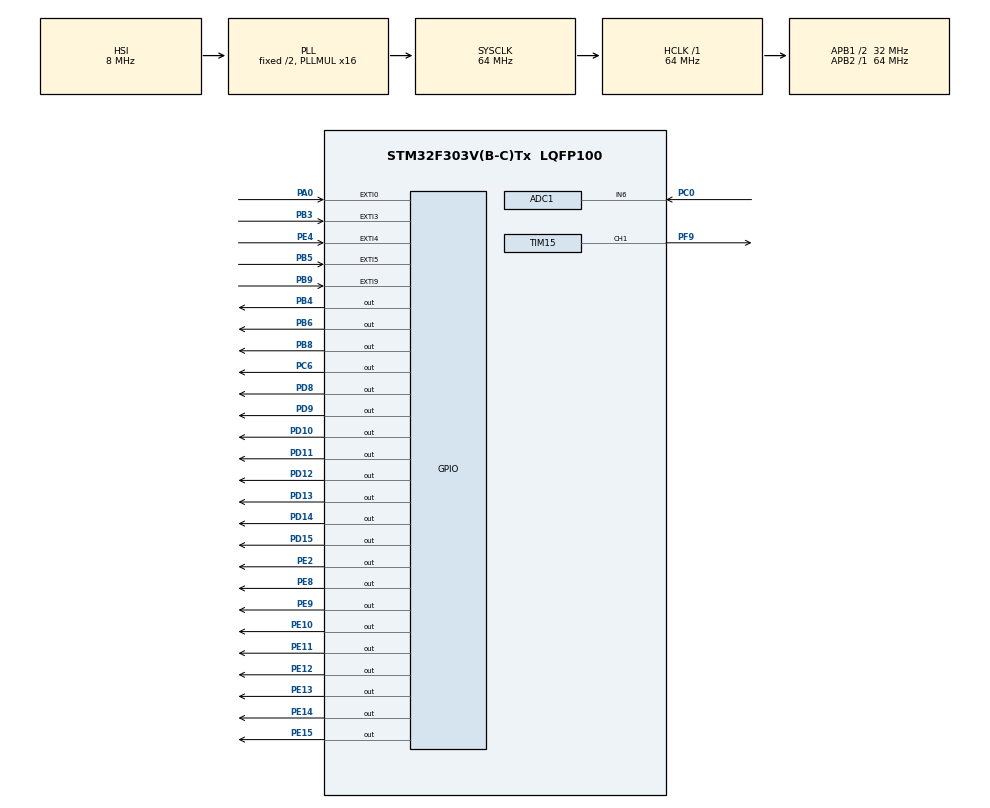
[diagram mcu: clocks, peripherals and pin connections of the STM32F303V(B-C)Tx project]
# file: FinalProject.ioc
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ADC1.Channel-0\#ChannelRegularConversion=ADC_CHANNEL_6
ADC1.NbrOfConversionFlag=1
ADC1.Offset-0\#ChannelRegularConversion=0
ADC1.OffsetNumber-0\#ChannelRegularConversion=ADC_OFFSET_NONE
ADC1.Rank-0\#ChannelRegularConversion=1
ADC1.SamplingTime-0\#ChannelRegularConversion=ADC_SAMPLETIME_601CYCLES_5
ADC1.SamplingTimeOPAMP-0\#ChannelRegularConversion=ADC_SAMPLETIME_61CYCLES_5
ADC1.master=1
Mcu.Family=STM32F3
Mcu.Name=STM32F303V(B-C)Tx
Mcu.Package=LQFP100
NVIC.ADC1_2_IRQn=true\:2\:0\:true\:false\:true\:true\:true
NVIC.EXTI0_IRQn=true\:2\:0\:true\:false\:true\:true\:true
NVIC.EXTI3_IRQn=true\:2\:0\:true\:false\:true\:true\:true
NVIC.EXTI4_IRQn=true\:2\:0\:true\:false\:true\:true\:true
NVIC.EXTI9_5_IRQn=true\:2\:0\:true\:false\:true\:true\:true
NVIC.PriorityGroup=NVIC_PRIORITYGROUP_4
NVIC.TIM2_IRQn=true\:2\:0\:true\:false\:true\:true\:true
NVIC.TIM3_IRQn=true\:1\:0\:true\:false\:true\:true\:true
NVIC.TIM4_IRQn=true\:2\:0\:true\:false\:true\:true\:true
PA0.GPIO_ModeDefaultEXTI=GPIO_MODE_IT_FALLING
PA0.GPIO_PuPd=GPIO_PULLDOWN
PA0.Signal=GPXTI0
PB3.GPIO_PuPd=GPIO_PULLDOWN
PB3.Signal=GPXTI3
PB4.PinState=GPIO_PIN_SET
PB4.Signal=GPIO_Output
PB5.GPIO_PuPd=GPIO_PULLDOWN
PB5.Signal=GPXTI5
PB6.PinState=GPIO_PIN_SET
PB6.Signal=GPIO_Output
PB8.PinState=GPIO_PIN_SET
PB8.Signal=GPIO_Output
PB9.GPIO_PuPd=GPIO_PULLDOWN
PB9.Signal=GPXTI9
PC0.Signal=ADCx_IN6
PC6.GPIO_PuPd=GPIO_PULLDOWN
PC6.Signal=GPIO_Output
PD10.GPIO_PuPd=GPIO_PULLDOWN
PD10.Signal=GPIO_Output
PD11.GPIO_PuPd=GPIO_PULLDOWN
PD11.Signal=GPIO_Output
PD12.GPIO_PuPd=GPIO_PULLDOWN
PD12.Signal=GPIO_Output
PD13.GPIO_PuPd=GPIO_PULLDOWN
PD13.Signal=GPIO_Output
PD14.GPIO_PuPd=GPIO_PULLDOWN
PD14.Signal=GPIO_Output
PD15.GPIO_PuPd=GPIO_PULLDOWN
PD15.Signal=GPIO_Output
PD8.GPIO_PuPd=GPIO_PULLDOWN
PD8.Signal=GPIO_Output
PD9.GPIO_PuPd=GPIO_PULLDOWN
PD9.Signal=GPIO_Output
PE10.GPIO_PuPd=GPIO_PULLDOWN
PE10.Signal=GPIO_Output
PE11.GPIO_PuPd=GPIO_PULLDOWN
PE11.Signal=GPIO_Output
PE12.GPIO_PuPd=GPIO_PULLDOWN
PE12.Signal=GPIO_Output
PE13.GPIO_PuPd=GPIO_PULLDOWN
PE13.Signal=GPIO_Output
PE14.GPIO_PuPd=GPIO_PULLDOWN
PE14.Signal=GPIO_Output
PE15.GPIO_PuPd=GPIO_PULLDOWN
PE15.Signal=GPIO_Output
PE2.PinState=GPIO_PIN_SET
PE2.Signal=GPIO_Output
PE4.GPIO_ModeDefaultEXTI=GPIO_MODE_IT_RISING
PE4.GPIO_PuPd=GPIO_PULLDOWN
PE4.Signal=GPXTI4
PE8.GPIO_PuPd=GPIO_PULLDOWN
PE8.Signal=GPIO_Output
PE9.GPIO_PuPd=GPIO_PULLDOWN
PE9.Signal=GPIO_Output
PF9.Signal=S_TIM15_CH1
ProjectManager.HeapSize=0x200
ProjectManager.StackSize=0x400
ProjectManager.TargetToolchain=STM32CubeIDE
RCC.AHBFreq_Value=64000000
RCC.APB1CLKDivider=RCC_HCLK_DIV2
RCC.APB1Freq_Value=32000000
RCC.APB1TimFreq_Value=64000000
RCC.APB2Freq_Value=64000000
RCC.APB2TimFreq_Value=64000000
RCC.CortexFreq_Value=64000000
RCC.HCLKFreq_Value=64000000
RCC.HSE_VALUE=8000000
RCC.HSI_VALUE=8000000
RCC.LSE_VALUE=32768
RCC.PLLMUL=RCC_PLL_MUL16
RCC.SYSCLKFreq_VALUE=64000000
RCC.SYSCLKSourceVirtual=RCC_SYSCLKSOURCE_PLLCLK
RCC.USBFreq_Value=64000000
RTC.AsynchPrediv=39
RTC.SynchPrediv=999
SH.ADCx_IN6.0=ADC1_IN6,IN6-Single-Ended
SH.S_TIM15_CH1.0=TIM15_CH1,PWM Generation1 CH1
TIM15.Channel-PWM\ Generation1\ CH1=TIM_CHANNEL_1
TIM2.Period=10000
TIM2.Prescaler=400
TIM3.Period=999
TIM3.Prescaler=255
TIM4.Period=9999
TIM4.Prescaler=3199
VP_RTC_VS_RTC_Activate.Mode=RTC_Enabled
VP_RTC_VS_RTC_Calendar.Mode=RTC_Calendar
VP_TIM15_VS_ClockSourceINT.Mode=Internal
VP_TIM2_VS_ClockSourceINT.Mode=Internal
VP_TIM3_VS_ClockSourceINT.Mode=Internal
VP_TIM4_VS_ClockSourceINT.Mode=Internal
board=custom

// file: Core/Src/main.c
/* USER CODE BEGIN Header */
/**
 ******************************************************************************
 * @file           : main.c
 * @brief          : Main program body
 ******************************************************************************
 * @attention
 *
 * <h2><center>&copy; Copyright (c) 2022 STMicroelectronics.
 * All rights reserved.</center></h2>
 *
 * This software component is licensed by ST under BSD 3-Clause license,
 * the "License"; You may not use this file except in compliance with the
 * License. You may obtain a copy of the License at:
 *                        opensource.org/licenses/BSD-3-Clause
 *
 ******************************************************************************
 */
/* USER CODE END Header */
#include "main.h"

/* USER CODE BEGIN Includes */
#include "LiquidCrystal.h"
#include "LCD_Util.h"
/* USER CODE END Includes */

/* USER CODE BEGIN PTD */
GPIO_TypeDef *const Row_ports[] = { GPIOB, GPIOB, GPIOE, GPIOB };
const uint16_t Row_pins[] = { GPIO_PIN_3, GPIO_PIN_5, GPIO_PIN_4, GPIO_PIN_9 };
GPIO_TypeDef *const Column_ports[] = { GPIOB, GPIOB, GPIOB, GPIOE };
const uint16_t Column_pins[] =
		{ GPIO_PIN_4, GPIO_PIN_6, GPIO_PIN_8, GPIO_PIN_2 };
volatile uint32_t last_gpio_exti;

TIM_HandleTypeDef *pwm_timer = &htim2;
uint32_t pwm_channel = TIM_CHANNEL_2;
/* USER CODE END PTD */

ADC_HandleTypeDef hadc1;

RTC_HandleTypeDef hrtc;

TIM_HandleTypeDef htim2;
TIM_HandleTypeDef htim3;
TIM_HandleTypeDef htim4;
TIM_HandleTypeDef htim15;

/* USER CODE BEGIN PV */
extern int input_button;
extern int program_state;
extern int shooting;
extern int player_row;
extern int player_col;
extern int bullet_row;
extern int bullet_col;
/* USER CODE END PV */

void SystemClock_Config(void);
static void MX_TIM4_Init(void);
static void MX_GPIO_Init(void);
static void MX_TIM3_Init(void);
static void MX_ADC1_Init(void);
static void MX_TIM2_Init(void);
static void MX_RTC_Init(void);
static void MX_TIM15_Init(void);

/* USER CODE BEGIN 0 */
void PWM_Start() {
    HAL_TIM_PWM_Start(pwm_timer, pwm_channel);
}

void PWM_Change_Tone(uint16_t pwm_freq, uint16_t volume) {
    if (pwm_freq == 0 || pwm_freq > 20000) {
        __HAL_TIM_SET_COMPARE(pwm_timer, pwm_channel, 0);
    } else {
        const uint32_t internal_clock_freq = HAL_RCC_GetSysClockFreq();
        // const uint16_t prescaler = 1;
        const uint16_t prescaler = 1 + internal_clock_freq / pwm_freq / 60000;
        const uint32_t timer_clock = internal_clock_freq / prescaler;
        const uint32_t period_cycles = timer_clock / pwm_freq;
        const uint32_t pulse_width = volume * period_cycles / 1000 / 2;

        pwm_timer->Instance->PSC = prescaler - 1;
        pwm_timer->Instance->ARR = period_cycles - 1;
        pwm_timer->Instance->EGR = TIM_EGR_UG;
        __HAL_TIM_SET_COMPARE(pwm_timer, pwm_channel, pulse_width); // pwm_timer->Instance->CCR2 = pulse_width;
    }
}

void HAL_GPIO_EXTI_Callback(uint16_t GPIO_Pin) {
	if (last_gpio_exti + 200 > HAL_GetTick()) {
		return;
	}
	last_gpio_exti = HAL_GetTick();

	int8_t row_number = -1;
	int8_t column_number = -1;

	if (GPIO_Pin == GPIO_PIN_0) {
		return;
	}

	for (uint8_t row = 0; row < 4; row++) {
		if (GPIO_Pin == Row_pins[row]) {
			row_number = row;
		}
	}

	HAL_GPIO_WritePin(Column_ports[0], Column_pins[0], 0);
	HAL_GPIO_WritePin(Column_ports[1], Column_pins[1], 0);
	HAL_GPIO_WritePin(Column_ports[2], Column_pins[2], 0);
	HAL_GPIO_WritePin(Column_ports[3], Column_pins[3], 0);

	for (uint8_t col = 0; col < 4; col++) {
		HAL_GPIO_WritePin(Column_ports[col], Column_pins[col], 1);
		if (HAL_GPIO_ReadPin(Row_ports[row_number], Row_pins[row_number])) {
			column_number = col;
		}
		HAL_GPIO_WritePin(Column_ports[col], Column_pins[col], 0);
	}

	HAL_GPIO_WritePin(Column_ports[0], Column_pins[0], 1);
	HAL_GPIO_WritePin(Column_ports[1], Column_pins[1], 1);
	HAL_GPIO_WritePin(Column_ports[2], Column_pins[2], 1);
	HAL_GPIO_WritePin(Column_ports[3], Column_pins[3], 1);

	if (row_number == -1 || column_number == -1) {
		return;
	}

	const uint8_t button_number = row_number * 4 + column_number + 1;

	input_button = button_number;

	if (program_state == menu_page) {
		if (input_button == 1) {
			program_state = game_page;
			set_game_page();
		} else if (input_button == 2) {
			program_state = change_name_page;
			set_change_name_page();
		} else if (input_button == 3) {
			program_state = help_page;
			set_help_page();
		} else if (input_button == 5) {
			program_state = about_page;
			set_about_page();
		}
	}

	if (program_state == game_page) {
		if (input_button == 5) {
			player_left();
		} else if (input_button == 7) {
			player_right();
		} else if (input_button == 6) {
			shooting = 1;
			bullet_row = player_row;
			bullet_col = player_col + 1;
		}
	}
}
/* USER CODE END 0 */

int main(void)
{

  /* MCU Configuration--------------------------------------------------------*/

  /* Reset of all peripherals, Initializes the Flash interface and the Systick. */
  HAL_Init();

  /* Configure the system clock */
  SystemClock_Config();

  /* Initialize all configured peripherals */
  MX_TIM4_Init();
  MX_GPIO_Init();
  MX_TIM3_Init();
  MX_ADC1_Init();
  MX_TIM2_Init();
  MX_RTC_Init();
  MX_TIM15_Init();
  /* USER CODE BEGIN 2 */
	LiquidCrystal(GPIOD, GPIO_PIN_1, GPIO_PIN_2, GPIO_PIN_3, GPIO_PIN_4,
	GPIO_PIN_5, GPIO_PIN_6, GPIO_PIN_7);
	begin(20, 4);

	HAL_TIM_Base_Start_IT(&htim2);
	HAL_TIM_Base_Start_IT(&htim3);
	HAL_TIM_Base_Start_IT(&htim4);
	HAL_ADC_Start_IT(&hadc1);

	HAL_TIM_PWM_Start(&htim2, TIM_CHANNEL_3);
	PWM_Start();
  /* USER CODE END 2 */

  /* Infinite loop */
  /* USER CODE BEGIN WHILE */
	set_start_page();
	while (1) {
    /* USER CODE END WHILE */

	}
}

void SystemClock_Config(void)
{
  RCC_OscInitTypeDef RCC_OscInitStruct = {0};
  RCC_ClkInitTypeDef RCC_ClkInitStruct = {0};
  RCC_PeriphCLKInitTypeDef PeriphClkInit = {0};

  /** Initializes the RCC Oscillators according to the specified parameters
  * in the RCC_OscInitTypeDef structure.
  */
  RCC_OscInitStruct.OscillatorType = RCC_OSCILLATORTYPE_HSI|RCC_OSCILLATORTYPE_LSI;
  RCC_OscInitStruct.HSIState = RCC_HSI_ON;
  RCC_OscInitStruct.HSICalibrationValue = RCC_HSICALIBRATION_DEFAULT;
  RCC_OscInitStruct.LSIState = RCC_LSI_ON;
  RCC_OscInitStruct.PLL.PLLState = RCC_PLL_ON;
  RCC_OscInitStruct.PLL.PLLSource = RCC_PLLSOURCE_HSI;
  RCC_OscInitStruct.PLL.PLLMUL = RCC_PLL_MUL16;
  if (HAL_RCC_OscConfig(&RCC_OscInitStruct) != HAL_OK)
  {
    Error_Handler();
  }
  /** Initializes the CPU, AHB and APB buses clocks
  */
  RCC_ClkInitStruct.ClockType = RCC_CLOCKTYPE_HCLK|RCC_CLOCKTYPE_SYSCLK
                              |RCC_CLOCKTYPE_PCLK1|RCC_CLOCKTYPE_PCLK2;
  RCC_ClkInitStruct.SYSCLKSource = RCC_SYSCLKSOURCE_PLLCLK;
  RCC_ClkInitStruct.AHBCLKDivider = RCC_SYSCLK_DIV1;
  RCC_ClkInitStruct.APB1CLKDivider = RCC_HCLK_DIV2;
  RCC_ClkInitStruct.APB2CLKDivider = RCC_HCLK_DIV1;

  if (HAL_RCC_ClockConfig(&RCC_ClkInitStruct, FLASH_LATENCY_2) != HAL_OK)
  {
    Error_Handler();
  }
  PeriphClkInit.PeriphClockSelection = RCC_PERIPHCLK_RTC|RCC_PERIPHCLK_ADC12;
  PeriphClkInit.Adc12ClockSelection = RCC_ADC12PLLCLK_DIV1;
  PeriphClkInit.RTCClockSelection = RCC_RTCCLKSOURCE_LSI;
  if (HAL_RCCEx_PeriphCLKConfig(&PeriphClkInit) != HAL_OK)
  {
    Error_Handler();
  }
}

static void MX_ADC1_Init(void)
{

  ADC_MultiModeTypeDef multimode = {0};
  ADC_ChannelConfTypeDef sConfig = {0};

  /** Common config
  */
  hadc1.Instance = ADC1;
  hadc1.Init.ClockPrescaler = ADC_CLOCK_ASYNC_DIV1;
  hadc1.Init.Resolution = ADC_RESOLUTION_12B;
  hadc1.Init.ScanConvMode = ADC_SCAN_DISABLE;
  hadc1.Init.ContinuousConvMode = DISABLE;
  hadc1.Init.DiscontinuousConvMode = DISABLE;
  hadc1.Init.ExternalTrigConvEdge = ADC_EXTERNALTRIGCONVEDGE_NONE;
  hadc1.Init.ExternalTrigConv = ADC_SOFTWARE_START;
  hadc1.Init.DataAlign = ADC_DATAALIGN_RIGHT;
  hadc1.Init.NbrOfConversion = 1;
  hadc1.Init.DMAContinuousRequests = DISABLE;
  hadc1.Init.EOCSelection = ADC_EOC_SINGLE_CONV;
  hadc1.Init.LowPowerAutoWait = DISABLE;
  hadc1.Init.Overrun = ADC_OVR_DATA_OVERWRITTEN;
  if (HAL_ADC_Init(&hadc1) != HAL_OK)
  {
    Error_Handler();
  }
  /** Configure the ADC multi-mode
  */
  multimode.Mode = ADC_MODE_INDEPENDENT;
  if (HAL_ADCEx_MultiModeConfigChannel(&hadc1, &multimode) != HAL_OK)
  {
    Error_Handler();
  }
  /** Configure Regular Channel
  */
  sConfig.Channel = ADC_CHANNEL_6;
  sConfig.Rank = ADC_REGULAR_RANK_1;
  sConfig.SingleDiff = ADC_SINGLE_ENDED;
  sConfig.SamplingTime = ADC_SAMPLETIME_601CYCLES_5;
  sConfig.OffsetNumber = ADC_OFFSET_NONE;
  sConfig.Offset = 0;
  if (HAL_ADC_ConfigChannel(&hadc1, &sConfig) != HAL_OK)
  {
    Error_Handler();
  }

}

static void MX_RTC_Init(void)
{

  RTC_TimeTypeDef sTime = {0};
  RTC_DateTypeDef sDate = {0};

  /** Initialize RTC Only
  */
  hrtc.Instance = RTC;
  hrtc.Init.HourFormat = RTC_HOURFORMAT_24;
  hrtc.Init.AsynchPrediv = 39;
  hrtc.Init.SynchPrediv = 999;
  hrtc.Init.OutPut = RTC_OUTPUT_DISABLE;
  hrtc.Init.OutPutPolarity = RTC_OUTPUT_POLARITY_HIGH;
  hrtc.Init.OutPutType = RTC_OUTPUT_TYPE_OPENDRAIN;
  if (HAL_RTC_Init(&hrtc) != HAL_OK)
  {
    Error_Handler();
  }

  /** Initialize RTC and set the Time and Date
  */
  sTime.Hours = 0x0;
  sTime.Minutes = 0x0;
  sTime.Seconds = 0x0;
  sTime.DayLightSaving = RTC_DAYLIGHTSAVING_NONE;
  sTime.StoreOperation = RTC_STOREOPERATION_RESET;
  if (HAL_RTC_SetTime(&hrtc, &sTime, RTC_FORMAT_BCD) != HAL_OK)
  {
    Error_Handler();
  }
  sDate.WeekDay = RTC_WEEKDAY_MONDAY;
  sDate.Month = RTC_MONTH_JANUARY;
  sDate.Date = 0x1;
  sDate.Year = 0x0;

  if (HAL_RTC_SetDate(&hrtc, &sDate, RTC_FORMAT_BCD) != HAL_OK)
  {
    Error_Handler();
  }

}

static void MX_TIM2_Init(void)
{

  TIM_ClockConfigTypeDef sClockSourceConfig = {0};
  TIM_MasterConfigTypeDef sMasterConfig = {0};

  htim2.Instance = TIM2;
  htim2.Init.Prescaler = 400;
  htim2.Init.CounterMode = TIM_COUNTERMODE_UP;
  htim2.Init.Period = 10000;
  htim2.Init.ClockDivision = TIM_CLOCKDIVISION_DIV1;
  htim2.Init.AutoReloadPreload = TIM_AUTORELOAD_PRELOAD_DISABLE;
  if (HAL_TIM_Base_Init(&htim2) != HAL_OK)
  {
    Error_Handler();
  }
  sClockSourceConfig.ClockSource = TIM_CLOCKSOURCE_INTERNAL;
  if (HAL_TIM_ConfigClockSource(&htim2, &sClockSourceConfig) != HAL_OK)
  {
    Error_Handler();
  }
  sMasterConfig.MasterOutputTrigger = TIM_TRGO_RESET;
  sMasterConfig.MasterSlaveMode = TIM_MASTERSLAVEMODE_DISABLE;
  if (HAL_TIMEx_MasterConfigSynchronization(&htim2, &sMasterConfig) != HAL_OK)
  {
    Error_Handler();
  }

}

static void MX_TIM3_Init(void)
{

  TIM_ClockConfigTypeDef sClockSourceConfig = {0};
  TIM_MasterConfigTypeDef sMasterConfig = {0};

  htim3.Instance = TIM3;
  htim3.Init.Prescaler = 255;
  htim3.Init.CounterMode = TIM_COUNTERMODE_UP;
  htim3.Init.Period = 999;
  htim3.Init.ClockDivision = TIM_CLOCKDIVISION_DIV1;
  htim3.Init.AutoReloadPreload = TIM_AUTORELOAD_PRELOAD_DISABLE;
  if (HAL_TIM_Base_Init(&htim3) != HAL_OK)
  {
    Error_Handler();
  }
  sClockSourceConfig.ClockSource = TIM_CLOCKSOURCE_INTERNAL;
  if (HAL_TIM_ConfigClockSource(&htim3, &sClockSourceConfig) != HAL_OK)
  {
    Error_Handler();
  }
  sMasterConfig.MasterOutputTrigger = TIM_TRGO_RESET;
  sMasterConfig.MasterSlaveMode = TIM_MASTERSLAVEMODE_DISABLE;
  if (HAL_TIMEx_MasterConfigSynchronization(&htim3, &sMasterConfig) != HAL_OK)
  {
    Error_Handler();
  }

}

static void MX_TIM4_Init(void)
{

  TIM_ClockConfigTypeDef sClockSourceConfig = {0};
  TIM_MasterConfigTypeDef sMasterConfig = {0};

  htim4.Instance = TIM4;
  htim4.Init.Prescaler = 3199;
  htim4.Init.CounterMode = TIM_COUNTERMODE_UP;
  htim4.Init.Period = 9999;
  htim4.Init.ClockDivision = TIM_CLOCKDIVISION_DIV1;
  htim4.Init.AutoReloadPreload = TIM_AUTORELOAD_PRELOAD_DISABLE;
  if (HAL_TIM_Base_Init(&htim4) != HAL_OK)
  {
    Error_Handler();
  }
  sClockSourceConfig.ClockSource = TIM_CLOCKSOURCE_INTERNAL;
  if (HAL_TIM_ConfigClockSource(&htim4, &sClockSourceConfig) != HAL_OK)
  {
    Error_Handler();
  }
  sMasterConfig.MasterOutputTrigger = TIM_TRGO_RESET;
  sMasterConfig.MasterSlaveMode = TIM_MASTERSLAVEMODE_DISABLE;
  if (HAL_TIMEx_MasterConfigSynchronization(&htim4, &sMasterConfig) != HAL_OK)
  {
    Error_Handler();
  }

}

static void MX_TIM15_Init(void)
{

  TIM_ClockConfigTypeDef sClockSourceConfig = {0};
  TIM_MasterConfigTypeDef sMasterConfig = {0};
  TIM_OC_InitTypeDef sConfigOC = {0};
  TIM_BreakDeadTimeConfigTypeDef sBreakDeadTimeConfig = {0};

  htim15.Instance = TIM15;
  htim15.Init.Prescaler = 0;
  htim15.Init.CounterMode = TIM_COUNTERMODE_UP;
  htim15.Init.Period = 65535;
  htim15.Init.ClockDivision = TIM_CLOCKDIVISION_DIV1;
  htim15.Init.RepetitionCounter = 0;
  htim15.Init.AutoReloadPreload = TIM_AUTORELOAD_PRELOAD_DISABLE;
  if (HAL_TIM_Base_Init(&htim15) != HAL_OK)
  {
    Error_Handler();
  }
  sClockSourceConfig.ClockSource = TIM_CLOCKSOURCE_INTERNAL;
  if (HAL_TIM_ConfigClockSource(&htim15, &sClockSourceConfig) != HAL_OK)
  {
    Error_Handler();
  }
  if (HAL_TIM_PWM_Init(&htim15) != HAL_OK)
  {
    Error_Handler();
  }
  sMasterConfig.MasterOutputTrigger = TIM_TRGO_RESET;
  sMasterConfig.MasterSlaveMode = TIM_MASTERSLAVEMODE_DISABLE;
  if (HAL_TIMEx_MasterConfigSynchronization(&htim15, &sMasterConfig) != HAL_OK)
  {
    Error_Handler();
  }
  sConfigOC.OCMode = TIM_OCMODE_PWM1;
  sConfigOC.Pulse = 0;
  sConfigOC.OCPolarity = TIM_OCPOLARITY_HIGH;
  sConfigOC.OCNPolarity = TIM_OCNPOLARITY_HIGH;
  sConfigOC.OCFastMode = TIM_OCFAST_DISABLE;
  sConfigOC.OCIdleState = TIM_OCIDLESTATE_RESET;
  sConfigOC.OCNIdleState = TIM_OCNIDLESTATE_RESET;
  if (HAL_TIM_PWM_ConfigChannel(&htim15, &sConfigOC, TIM_CHANNEL_1) != HAL_OK)
  {
    Error_Handler();
  }
  sBreakDeadTimeConfig.OffStateRunMode = TIM_OSSR_DISABLE;
  sBreakDeadTimeConfig.OffStateIDLEMode = TIM_OSSI_DISABLE;
  sBreakDeadTimeConfig.LockLevel = TIM_LOCKLEVEL_OFF;
  sBreakDeadTimeConfig.DeadTime = 0;
  sBreakDeadTimeConfig.BreakState = TIM_BREAK_DISABLE;
  sBreakDeadTimeConfig.BreakPolarity = TIM_BREAKPOLARITY_HIGH;
  sBreakDeadTimeConfig.BreakFilter = 0;
  sBreakDeadTimeConfig.AutomaticOutput = TIM_AUTOMATICOUTPUT_DISABLE;
  if (HAL_TIMEx_ConfigBreakDeadTime(&htim15, &sBreakDeadTimeConfig) != HAL_OK)
  {
    Error_Handler();
  }
  HAL_TIM_MspPostInit(&htim15);

}

static void MX_GPIO_Init(void)
{
  GPIO_InitTypeDef GPIO_InitStruct = {0};

  /* GPIO Ports Clock Enable */
  __HAL_RCC_GPIOE_CLK_ENABLE();
  __HAL_RCC_GPIOF_CLK_ENABLE();
  __HAL_RCC_GPIOC_CLK_ENABLE();
  __HAL_RCC_GPIOA_CLK_ENABLE();
  __HAL_RCC_GPIOD_CLK_ENABLE();
  __HAL_RCC_GPIOB_CLK_ENABLE();

  /*Configure GPIO pin Output Level */
  HAL_GPIO_WritePin(GPIOE, GPIO_PIN_2, GPIO_PIN_SET);

  /*Configure GPIO pin Output Level */
  HAL_GPIO_WritePin(GPIOE, GPIO_PIN_8|GPIO_PIN_9|GPIO_PIN_10|GPIO_PIN_11
                          |GPIO_PIN_12|GPIO_PIN_13|GPIO_PIN_14|GPIO_PIN_15, GPIO_PIN_RESET);

  /*Configure GPIO pin Output Level */
  HAL_GPIO_WritePin(GPIOD, GPIO_PIN_8|GPIO_PIN_9|GPIO_PIN_10|GPIO_PIN_11
                          |GPIO_PIN_12|GPIO_PIN_13|GPIO_PIN_14|GPIO_PIN_15, GPIO_PIN_RESET);

  /*Configure GPIO pin Output Level */
  HAL_GPIO_WritePin(GPIOC, GPIO_PIN_6, GPIO_PIN_RESET);

  /*Configure GPIO pin Output Level */
  HAL_GPIO_WritePin(GPIOB, GPIO_PIN_4|GPIO_PIN_6|GPIO_PIN_8, GPIO_PIN_SET);

  /*Configure GPIO pin : PE2 */
  GPIO_InitStruct.Pin = GPIO_PIN_2;
  GPIO_InitStruct.Mode = GPIO_MODE_OUTPUT_PP;
  GPIO_InitStruct.Pull = GPIO_NOPULL;
  GPIO_InitStruct.Speed = GPIO_SPEED_FREQ_LOW;
  HAL_GPIO_Init(GPIOE, &GPIO_InitStruct);

  /*Configure GPIO pin : PE4 */
  GPIO_InitStruct.Pin = GPIO_PIN_4;
  GPIO_InitStruct.Mode = GPIO_MODE_IT_RISING;
  GPIO_InitStruct.Pull = GPIO_PULLDOWN;
  HAL_GPIO_Init(GPIOE, &GPIO_InitStruct);

  /*Configure GPIO pin : PA0 */
  GPIO_InitStruct.Pin = GPIO_PIN_0;
  GPIO_InitStruct.Mode = GPIO_MODE_IT_FALLING;
  GPIO_InitStruct.Pull = GPIO_PULLDOWN;
  HAL_GPIO_Init(GPIOA, &GPIO_InitStruct);

  /*Configure GPIO pins : PE8 PE9 PE10 PE11
                           PE12 PE13 PE14 PE15 */
  GPIO_InitStruct.Pin = GPIO_PIN_8|GPIO_PIN_9|GPIO_PIN_10|GPIO_PIN_11
                          |GPIO_PIN_12|GPIO_PIN_13|GPIO_PIN_14|GPIO_PIN_15;
  GPIO_InitStruct.Mode = GPIO_MODE_OUTPUT_PP;
  GPIO_InitStruct.Pull = GPIO_PULLDOWN;
  GPIO_InitStruct.Speed = GPIO_SPEED_FREQ_LOW;
  HAL_GPIO_Init(GPIOE, &GPIO_InitStruct);

  /*Configure GPIO pins : PD8 PD9 PD10 PD11
                           PD12 PD13 PD14 PD15 */
  GPIO_InitStruct.Pin = GPIO_PIN_8|GPIO_PIN_9|GPIO_PIN_10|GPIO_PIN_11
                          |GPIO_PIN_12|GPIO_PIN_13|GPIO_PIN_14|GPIO_PIN_15;
  GPIO_InitStruct.Mode = GPIO_MODE_OUTPUT_PP;
  GPIO_InitStruct.Pull = GPIO_PULLDOWN;
  GPIO_InitStruct.Speed = GPIO_SPEED_FREQ_LOW;
  HAL_GPIO_Init(GPIOD, &GPIO_InitStruct);

  /*Configure GPIO pin : PC6 */
  GPIO_InitStruct.Pin = GPIO_PIN_6;
  GPIO_InitStruct.Mode = GPIO_MODE_OUTPUT_PP;
  GPIO_InitStruct.Pull = GPIO_PULLDOWN;
  GPIO_InitStruct.Speed = GPIO_SPEED_FREQ_LOW;
  HAL_GPIO_Init(GPIOC, &GPIO_InitStruct);

  /*Configure GPIO pins : PB3 PB5 PB9 */
  GPIO_InitStruct.Pin = GPIO_PIN_3|GPIO_PIN_5|GPIO_PIN_9;
  GPIO_InitStruct.Mode = GPIO_MODE_IT_RISING;
  GPIO_InitStruct.Pull = GPIO_PULLDOWN;
  HAL_GPIO_Init(GPIOB, &GPIO_InitStruct);

  /*Configure GPIO pins : PB4 PB6 PB8 */
  GPIO_InitStruct.Pin = GPIO_PIN_4|GPIO_PIN_6|GPIO_PIN_8;
  GPIO_InitStruct.Mode = GPIO_MODE_OUTPUT_PP;
  GPIO_InitStruct.Pull = GPIO_NOPULL;
  GPIO_InitStruct.Speed = GPIO_SPEED_FREQ_LOW;
  HAL_GPIO_Init(GPIOB, &GPIO_InitStruct);

  /* EXTI interrupt init*/
  HAL_NVIC_SetPriority(EXTI0_IRQn, 2, 0);
  HAL_NVIC_EnableIRQ(EXTI0_IRQn);

  HAL_NVIC_SetPriority(EXTI3_IRQn, 2, 0);
  HAL_NVIC_EnableIRQ(EXTI3_IRQn);

  HAL_NVIC_SetPriority(EXTI4_IRQn, 2, 0);
  HAL_NVIC_EnableIRQ(EXTI4_IRQn);

  HAL_NVIC_SetPriority(EXTI9_5_IRQn, 2, 0);
  HAL_NVIC_EnableIRQ(EXTI9_5_IRQn);

}

void Error_Handler(void)
{
	__disable_irq();
	while (1) {
	}
}

/************************ (C) COPYRIGHT STMicroelectronics *****END OF FILE****/
